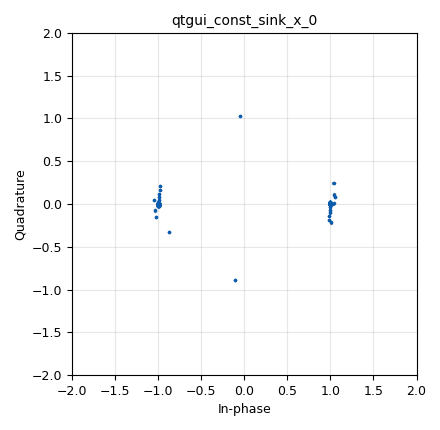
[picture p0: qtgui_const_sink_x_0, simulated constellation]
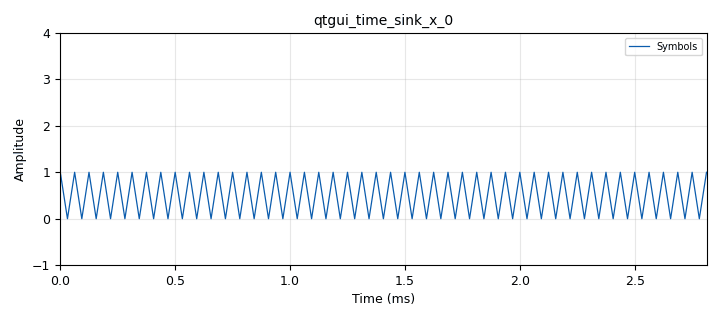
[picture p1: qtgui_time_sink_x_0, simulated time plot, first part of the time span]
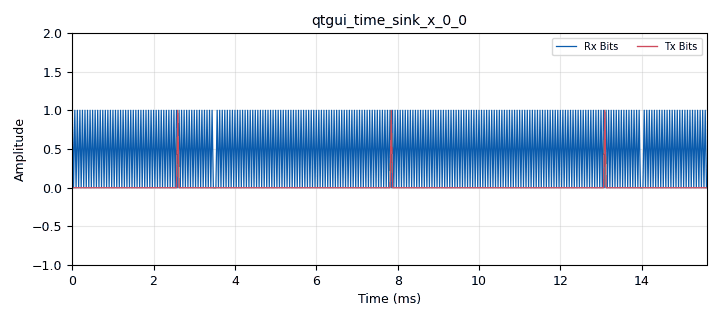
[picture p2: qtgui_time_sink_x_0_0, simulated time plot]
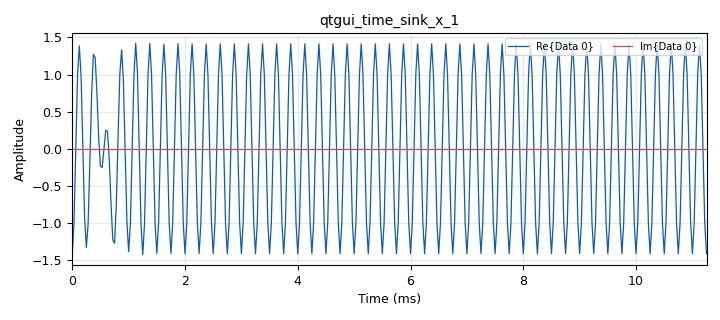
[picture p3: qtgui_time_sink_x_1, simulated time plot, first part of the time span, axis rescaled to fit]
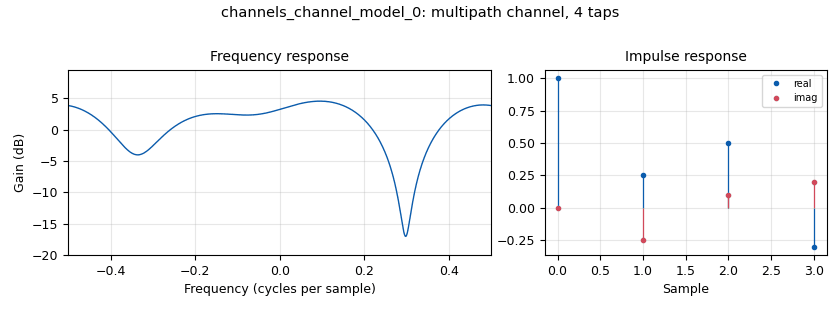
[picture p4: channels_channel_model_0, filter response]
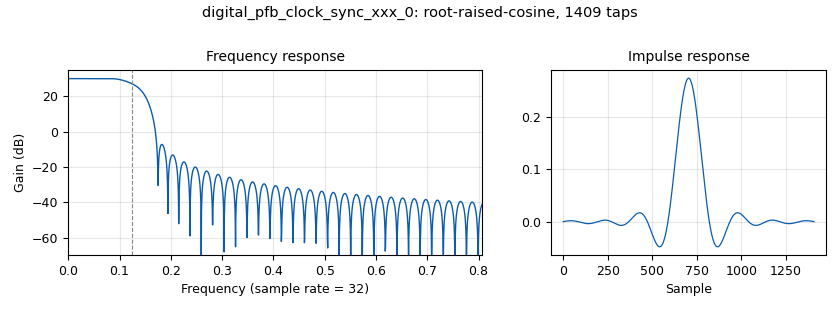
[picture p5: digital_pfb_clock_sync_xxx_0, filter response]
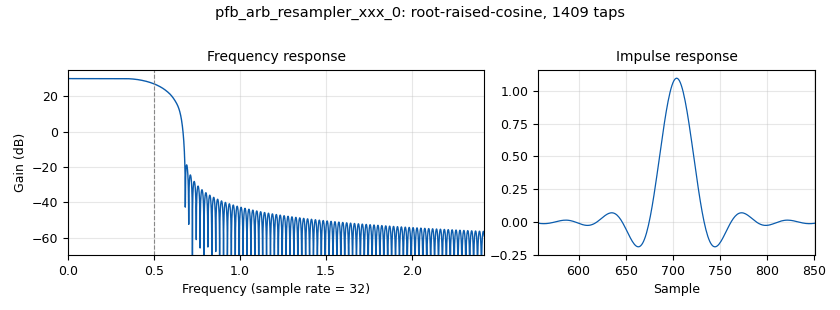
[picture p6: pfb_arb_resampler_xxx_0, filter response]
options:
  parameters:
    category: Custom
    generate_options: qt_gui
    id: stage6_v0
    output_language: python
  states: {}

blocks:
- name: arity
  id: variable
  parameters:
    value: '2'
  states: {}
- name: delay
  id: variable_qtgui_range
  parameters:
    gui_hint: 1,0,1,1
    label: Delay
    start: '0'
    step: '1'
    stop: '200'
    value: '0'
  states: {}
- name: eq_gain
  id: variable_qtgui_range
  parameters:
    gui_hint: 'controls@1: 0,1,1,1'
    label: 'Equalizer: rate'
    start: '0.0'
    step: '0.001'
    stop: '0.1'
    value: '0.01'
    widget: slider
  states: {}
- name: excess_bw
  id: variable
  parameters:
    value: '0.35'
  states: {}
- name: freq_offset
  id: variable_qtgui_range
  parameters:
    gui_hint: 'controls@0: 0,1,1,1'
    label: Frequency Offset
    start: '-0.1'
    step: '0.001'
    stop: '0.1'
    value: '0'
  states: {}
- name: nfilts
  id: variable
  parameters:
    value: '32'
  states: {}
- name: noise_volt
  id: variable_qtgui_range
  parameters:
    gui_hint: 'controls@0: 0,0,1,1'
    label: Noise Voltage
    start: '0'
    step: '0.01'
    stop: '1'
    value: '0.0001'
  states: {}
- name: phase_bw
  id: variable_qtgui_range
  parameters:
    gui_hint: 'controls@1: 0,2,1,1'
    label: 'Phase: Bandwidth'
    start: '0.0'
    step: '0.01'
    stop: '1.0'
    value: 6.28/100.0
    widget: slider
  states: {}
- name: qpsk
  id: variable_constellation_rect
  parameters:
    const_points: '[-1,1]'
    imag_sect: '2'
    real_sect: '2'
    rot_sym: '4'
    sym_map: '[0, 1]'
    w_imag_sect: '1'
    w_real_sect: '1'
  states: {}
- name: rrc_taps
  id: variable
  parameters:
    value: firdes.root_raised_cosine(nfilts, nfilts, 1.0/float(sps), 0.35, 11*sps*nfilts)
  states: {}
- name: rrc_taps_tx
  id: variable
  parameters:
    value: firdes.root_raised_cosine(nfilts,nfilts, 1, 0.35, 11*sps*nfilts)
  states: {}
- name: samp_rate
  id: variable
  parameters:
    value: '32000'
  states: {}
- name: sps
  id: variable
  parameters:
    value: '4'
  states: {}
- name: taps
  id: variable
  parameters:
    value: '[1.0 + 0.0j, ]'
  states: {state: disabled}
- name: taps
  id: variable
  parameters:
    value: '[1.0, 0.25-0.25j, 0.50 + 0.10j, -0.3 + 0.2j]'
  states: {}
- name: time_offset
  id: variable_qtgui_range
  parameters:
    gui_hint: 'controls@0: 0,2,1,1'
    label: Timing Offset
    start: '0.999'
    step: '0.0001'
    stop: '1.001'
    value: '1.00'
  states: {}
- name: timing_loop_bw
  id: variable_qtgui_range
  parameters:
    gui_hint: 'controls@1: 0,0,1,1'
    label: 'Time: BW'
    start: '0.0'
    step: '0.01'
    stop: '0.2'
    value: 6.28/100.0
    widget: slider
  states: {}
- name: variable_adaptive_algorithm_0
  id: variable_adaptive_algorithm
  parameters:
    cons: qpsk
    modulus: '1'
    step_size: '.0001'
    type: cma
  states: {}
- name: analog_random_source_x_0
  id: analog_random_source_x
  parameters:
    max: '256'
    min: '0'
    num_samps: '1000'
    repeat: 'True'
    type: byte
  states: {state: disabled}
- name: blocks_char_to_float_0
  id: blocks_char_to_float
  parameters:
    scale: '1'
  states: {}
- name: blocks_char_to_float_0_0
  id: blocks_char_to_float
  parameters:
    scale: '1'
  states: {}
- name: blocks_char_to_float_0_0_0
  id: blocks_char_to_float
  parameters:
    scale: '1'
  states: {}
- name: blocks_delay_0
  id: blocks_delay
  parameters:
    delay: int(delay)
    type: float
  states: {}
- name: blocks_message_debug_0
  id: blocks_message_debug
  parameters: {}
  states: {}
- name: blocks_packed_to_unpacked_xx_0
  id: blocks_packed_to_unpacked_xx
  parameters:
    bits_per_chunk: '1'
    endianness: gr.GR_MSB_FIRST
    type: byte
  states: {}
- name: blocks_probe_rate_0
  id: blocks_probe_rate
  parameters:
    alpha: '0.15'
    mintime: '500.0'
    type: byte
  states: {}
- name: blocks_throttle_0
  id: blocks_throttle
  parameters:
    samples_per_second: samp_rate
    type: complex
  states: {}
- name: blocks_unpack_k_bits_bb_0
  id: blocks_unpack_k_bits_bb
  parameters:
    k: '1'
  states: {}
- name: blocks_unpack_k_bits_bb_0_0
  id: blocks_unpack_k_bits_bb
  parameters:
    k: '8'
  states: {}
- name: blocks_vector_source_x_0
  id: blocks_vector_source_x
  parameters:
    repeat: 'True'
    type: byte
    vector: 20*[0,]+[1]
  states: {}
- name: channels_channel_model_0
  id: channels_channel_model
  parameters:
    epsilon: time_offset
    freq_offset: freq_offset
    noise_voltage: noise_volt
    seed: '0'
    taps: taps
  states: {}
- name: controls
  id: qtgui_tab_widget
  parameters:
    gui_hint: 0,0,1,2
    label0: Channel
    label1: Receiver
    num_tabs: '2'
  states: {}
- name: digital_chunks_to_symbols_xx_0
  id: digital_chunks_to_symbols_xx
  parameters:
    dimension: '2'
    in_type: byte
    out_type: complex
    symbol_table: '[-1,1]'
  states: {}
- name: digital_constellation_decoder_cb_0
  id: digital_constellation_decoder_cb
  parameters:
    constellation: qpsk
  states: {}
- name: digital_costas_loop_cc_0
  id: digital_costas_loop_cc
  parameters:
    order: arity
    w: phase_bw
  states: {}
- name: digital_linear_equalizer_0
  id: digital_linear_equalizer
  parameters:
    alg: variable_adaptive_algorithm_0
    num_taps: '15'
    sps: '2'
    training_sequence: '[]'
  states: {}
- name: digital_map_bb_0
  id: digital_map_bb
  parameters:
    map: '[0,1]'
  states: {}
- name: digital_pfb_clock_sync_xxx_0
  id: digital_pfb_clock_sync_xxx
  parameters:
    filter_size: nfilts
    init_phase: nfilts/2
    loop_bw: timing_loop_bw
    max_dev: '1.5'
    osps: '2'
    sps: sps
    taps: rrc_taps
    type: ccf
  states: {}
- name: pfb_arb_resampler_xxx_0
  id: pfb_arb_resampler_xxx
  parameters:
    atten: '100'
    nfilts: nfilts
    rrate: sps
    taps: rrc_taps_tx
    type: ccf
  states: {}
- name: qtgui_const_sink_x_0
  id: qtgui_const_sink_x
  parameters:
    gui_hint: 'received@0: 0,0,1,1'
    size: '1024'
    type: complex
  states: {}
- name: qtgui_time_sink_x_0
  id: qtgui_time_sink_x
  parameters:
    gui_hint: 'received@1: 0,0,1,1'
    label1: Symbols
    name: ''
    size: '500'
    srate: samp_rate
    type: float
    ymax: '4'
  states: {}
- name: qtgui_time_sink_x_0_0
  id: qtgui_time_sink_x
  parameters:
    gui_hint: 2,1,1,1
    label1: Rx Bits
    label2: Tx Bits
    name: ''
    nconnections: '2'
    size: '500'
    srate: samp_rate
    type: float
    ymax: '2'
  states: {}
- name: qtgui_time_sink_x_1
  id: qtgui_time_sink_x
  parameters:
    size: '1024'
    srate: samp_rate
    type: complex
  states: {}
- name: received
  id: qtgui_tab_widget
  parameters:
    gui_hint: 2,0,1,1
    label0: Constellation
    label1: Symbols
    num_tabs: '2'
  states: {}

connections:
- [analog_random_source_x_0, '0', blocks_packed_to_unpacked_xx_0, '0']
- [analog_random_source_x_0, '0', blocks_probe_rate_0, '0']
- [analog_random_source_x_0, '0', blocks_unpack_k_bits_bb_0_0, '0']
- [blocks_char_to_float_0, '0', qtgui_time_sink_x_0, '0']
- [blocks_char_to_float_0_0, '0', qtgui_time_sink_x_0_0, '0']
- [blocks_char_to_float_0_0_0, '0', blocks_delay_0, '0']
- [blocks_delay_0, '0', qtgui_time_sink_x_0_0, '1']
- [blocks_packed_to_unpacked_xx_0, '0', digital_chunks_to_symbols_xx_0, '0']
- [blocks_probe_rate_0, rate, blocks_message_debug_0, print]
- [blocks_throttle_0, '0', channels_channel_model_0, '0']
- [blocks_throttle_0, '0', qtgui_time_sink_x_1, '0']
- [blocks_unpack_k_bits_bb_0, '0', blocks_char_to_float_0_0, '0']
- [blocks_unpack_k_bits_bb_0_0, '0', blocks_char_to_float_0_0_0, '0']
- [blocks_vector_source_x_0, '0', blocks_packed_to_unpacked_xx_0, '0']
- [blocks_vector_source_x_0, '0', blocks_probe_rate_0, '0']
- [blocks_vector_source_x_0, '0', blocks_unpack_k_bits_bb_0_0, '0']
- [channels_channel_model_0, '0', digital_pfb_clock_sync_xxx_0, '0']
- [digital_chunks_to_symbols_xx_0, '0', pfb_arb_resampler_xxx_0, '0']
- [digital_constellation_decoder_cb_0, '0', blocks_char_to_float_0, '0']
- [digital_constellation_decoder_cb_0, '0', digital_map_bb_0, '0']
- [digital_costas_loop_cc_0, '0', digital_constellation_decoder_cb_0, '0']
- [digital_costas_loop_cc_0, '0', qtgui_const_sink_x_0, '0']
- [digital_linear_equalizer_0, '0', digital_costas_loop_cc_0, '0']
- [digital_map_bb_0, '0', blocks_unpack_k_bits_bb_0, '0']
- [digital_pfb_clock_sync_xxx_0, '0', digital_linear_equalizer_0, '0']
- [pfb_arb_resampler_xxx_0, '0', blocks_throttle_0, '0']

metadata:
  file_format: 1
  grc_version: 3.10.5.1
